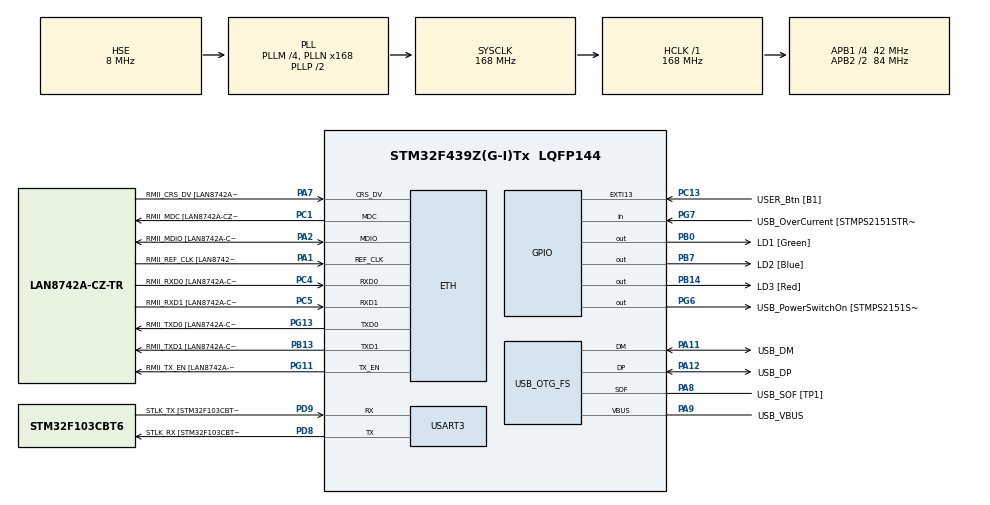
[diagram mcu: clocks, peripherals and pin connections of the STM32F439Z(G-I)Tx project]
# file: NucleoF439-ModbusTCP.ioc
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ETH.MediaInterface=HAL_ETH_RMII_MODE
ETH.PHY_Name=LAN8742A_PHY_ADDRESS
ETH.PHY_Value=0
ETH.PhyAddress=0
FREERTOS.Tasks01=defaultTask,24,512,StartDefaultTask,Default,NULL,Dynamic,NULL,NULL;ledTask,8,128,StartLedTask,Default,NULL,Dynamic,NULL,NULL;registerTask,8,128,StartRegisterTask,Default,NULL,Dynamic,NULL,NULL
FREERTOS.configGENERATE_RUN_TIME_STATS=1
FREERTOS.configRECORD_STACK_HIGH_ADDRESS=1
FREERTOS.configUSE_NEWLIB_REENTRANT=1
Mcu.Family=STM32F4
Mcu.Name=STM32F439Z(G-I)Tx
Mcu.Package=LQFP144
NVIC.ETH_IRQn=true\:5\:0\:false\:false\:false\:true\:true\:false\:true
NVIC.PriorityGroup=NVIC_PRIORITYGROUP_4
NVIC.TIM6_DAC_IRQn=true\:15\:0\:false\:false\:true\:false\:false\:true\:true
NVIC.TimeBase=TIM6_DAC_IRQn
NVIC.TimeBaseIP=TIM6
PA1.GPIO_Label=RMII_REF_CLK [LAN8742A-CZ-TR_REFCLK0]
PA1.Mode=RMII
PA1.Signal=ETH_REF_CLK
PA10.GPIO_Label=USB_ID
PA10.Signal=USB_OTG_FS_ID
PA11.GPIO_Label=USB_DM
PA11.Mode=Device_Only
PA11.Signal=USB_OTG_FS_DM
PA12.GPIO_Label=USB_DP
PA12.Mode=Device_Only
PA12.Signal=USB_OTG_FS_DP
PA13.GPIO_Label=TMS
PA13.Mode=Serial_Wire
PA13.Signal=SYS_JTMS-SWDIO
PA14.GPIO_Label=TCK
PA14.Mode=Serial_Wire
PA14.Signal=SYS_JTCK-SWCLK
PA2.GPIO_Label=RMII_MDIO [LAN8742A-CZ-TR_MDIO]
PA2.Mode=RMII
PA2.Signal=ETH_MDIO
PA7.GPIO_Label=RMII_CRS_DV [LAN8742A-CZ-TR_CRS_DV]
PA7.Mode=RMII
PA7.Signal=ETH_CRS_DV
PA8.GPIO_Label=USB_SOF [TP1]
PA8.Mode=Activate_SOF_FS
PA8.Signal=USB_OTG_FS_SOF
PA9.GPIO_Label=USB_VBUS
PA9.Mode=Activate_VBUS
PA9.Signal=USB_OTG_FS_VBUS
PB0.GPIO_Label=LD1 [Green]
PB0.Signal=GPIO_Output
PB13.GPIO_Label=RMII_TXD1 [LAN8742A-CZ-TR_TXD1]
PB13.Mode=RMII
PB13.Signal=ETH_TXD1
PB14.GPIO_Label=LD3 [Red]
PB14.Signal=GPIO_Output
PB7.GPIO_Label=LD2 [Blue]
PB7.Signal=GPIO_Output
PC1.GPIO_Label=RMII_MDC [LAN8742A-CZ-TR_MDC]
PC1.Mode=RMII
PC1.Signal=ETH_MDC
PC13.GPIO_Label=USER_Btn [B1]
PC13.Signal=GPXTI13
PC14/OSC32_IN.Mode=LSE-External-Oscillator
PC14/OSC32_IN.Signal=RCC_OSC32_IN
PC15/OSC32_OUT.Mode=LSE-External-Oscillator
PC15/OSC32_OUT.Signal=RCC_OSC32_OUT
PC4.GPIO_Label=RMII_RXD0 [LAN8742A-CZ-TR_RXD0]
PC4.Mode=RMII
PC4.Signal=ETH_RXD0
PC5.GPIO_Label=RMII_RXD1 [LAN8742A-CZ-TR_RXD1]
PC5.Mode=RMII
PC5.Signal=ETH_RXD1
PD8.GPIO_Label=STLK_RX [STM32F103CBT6_PA3]
PD8.Mode=Asynchronous
PD8.Signal=USART3_TX
PD9.GPIO_Label=STLK_TX [STM32F103CBT6_PA2]
PD9.Mode=Asynchronous
PD9.Signal=USART3_RX
PG11.GPIO_Label=RMII_TX_EN [LAN8742A-CZ-TR_TXEN]
PG11.Mode=RMII
PG11.Signal=ETH_TX_EN
PG13.GPIO_Label=RMII_TXD0 [LAN8742A-CZ-TR_TXD0]
PG13.Mode=RMII
PG13.Signal=ETH_TXD0
PG6.GPIO_Label=USB_PowerSwitchOn [STMPS2151STR_EN]
PG6.Signal=GPIO_Output
PG7.GPIO_Label=USB_OverCurrent [STMPS2151STR_FAULT]
PG7.Signal=GPIO_Input
PH0/OSC_IN.GPIO_Label=MCO [STM32F103CBT6_PA8]
PH0/OSC_IN.Mode=HSE-External-Clock-Source
PH0/OSC_IN.Signal=RCC_OSC_IN
PH1/OSC_OUT.Mode=HSE-External-Clock-Source
PH1/OSC_OUT.Signal=RCC_OSC_OUT
ProjectManager.HeapSize=0x200
ProjectManager.StackSize=0x400
ProjectManager.TargetToolchain=STM32CubeIDE
RCC.48MHZClocksFreq_Value=48000000
RCC.AHBFreq_Value=168000000
RCC.APB1CLKDivider=RCC_HCLK_DIV4
RCC.APB1Freq_Value=42000000
RCC.APB1TimFreq_Value=84000000
RCC.APB2CLKDivider=RCC_HCLK_DIV2
RCC.APB2Freq_Value=84000000
RCC.APB2TimCLKDivider=2
RCC.APB2TimFreq_Value=168000000
RCC.CortexFreq_Value=168000000
RCC.HCLKFreq_Value=168000000
RCC.HSE_VALUE=8000000
RCC.HSI_VALUE=16000000
RCC.PLLM=4
RCC.PLLMUL=RCC_PLL_MUL9
RCC.PLLN=168
RCC.PLLQ=7
RCC.PRESCALERUSB=RCC_USBCLKSOURCE_PLL_DIV1_5
RCC.SYSCLKFreq_VALUE=168000000
RCC.SYSCLKSource=RCC_SYSCLKSOURCE_PLLCLK
RCC.SYSCLKSourceVirtual=RCC_SYSCLKSOURCE_PLLCLK
RCC.USBFreq_Value=48000000
RCC.VCOOutputFreq_Value=336000000
USART3.VirtualMode=VM_ASYNC
USB_OTG_FS.VirtualMode=Device_Only
VP_FREERTOS_VS_CMSIS_V2.Mode=CMSIS_V2
VP_SYS_VS_tim6.Mode=TIM6
board=NUCLEO-F439ZI

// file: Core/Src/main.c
/* USER CODE BEGIN Header */
/**
  ******************************************************************************
  * @file           : main.c
  * @brief          : Main program body
  ******************************************************************************
  * @attention
  *
  * Copyright (c) 2024 STMicroelectronics.
  * All rights reserved.
  *
  * This software is licensed under terms that can be found in the LICENSE file
  * in the root directory of this software component.
  * If no LICENSE file comes with this software, it is provided AS-IS.
  *
  ******************************************************************************
  */
/* USER CODE END Header */
#include "main.h"
#include "string.h"
#include "cmsis_os.h"

/* USER CODE BEGIN Includes */
#include "mongoose.h"
/* USER CODE END Includes */

/* USER CODE BEGIN PM */
#define UNIT_ID 0x01
#define COIL_OUT_BLOCK_SIZE 128
#define COIL_IN_BLOCK_SIZE 128
#define REG_IN_BLOCK_SIZE 100
#define REG_OUT_BLOCK_SIZE 100
/* USER CODE END PM */

ETH_TxPacketConfig TxConfig;
ETH_DMADescTypeDef  DMARxDscrTab[ETH_RX_DESC_CNT]; /* Ethernet Rx DMA Descriptors */
ETH_DMADescTypeDef  DMATxDscrTab[ETH_TX_DESC_CNT]; /* Ethernet Tx DMA Descriptors */

ETH_HandleTypeDef heth;

UART_HandleTypeDef huart3;

PCD_HandleTypeDef hpcd_USB_OTG_FS;

/* Definitions for defaultTask */
osThreadId_t defaultTaskHandle;
const osThreadAttr_t defaultTask_attributes = {
  .name = "defaultTask",
  .stack_size = 512 * 4,
  .priority = (osPriority_t) osPriorityNormal,
};
/* Definitions for ledTask */
osThreadId_t ledTaskHandle;
const osThreadAttr_t ledTask_attributes = {
  .name = "ledTask",
  .stack_size = 128 * 4,
  .priority = (osPriority_t) osPriorityLow,
};
/* Definitions for registerTask */
osThreadId_t registerTaskHandle;
const osThreadAttr_t registerTask_attributes = {
  .name = "registerTask",
  .stack_size = 128 * 4,
  .priority = (osPriority_t) osPriorityLow,
};
/* USER CODE BEGIN PV */
uint8_t counter = 1;
struct mg_connection* conn = NULL;
bool connected = false;
uint8_t modbus_coil_out_mem[COIL_OUT_BLOCK_SIZE];
const uint8_t modbus_coil_in_mem[COIL_IN_BLOCK_SIZE] =
{
  0x49,
  0xF1,
  0xAA,
  0x96,
  0xB0,
  0x72,
  0xC9,
  0x15,
  0x47,
  0x01
};
const uint16_t modbus_reg_in_mem[REG_IN_BLOCK_SIZE] =
{
  0xFFDC,
  0x3F1D,
  0xC840,
  0x59E6,
  0x8B0F,
  0xF723,
  0x2CA9,
  0xD15E,
  0x6478,
  0x90F1
};
uint16_t modbus_reg_out_mem[REG_OUT_BLOCK_SIZE] =
{
  0xA3F2,
  0x5B7C,
  0xC1D4,
  0x8E09,
  0xF4A6,
  0x23E1,
  0x9B7F,
  0x4D92,
  0x6AC8,
  0xEF3B
};

typedef enum
{
  ILLEGAL_FUNCTION = 0x01,
  ILLEGAL_DATA_ADDRESS = 0x02,
  ILLEGAL_DATA_VALUE = 0x03,
  SLAVE_DEVICE_FAILURE = 0x04,
  SLAVE_DEVICE_BUSY  = 0x06
} ModbusExceptionCode;
/* USER CODE END PV */

void SystemClock_Config(void);
static void MX_GPIO_Init(void);
static void MX_ETH_Init(void);
static void MX_USART3_UART_Init(void);
static void MX_USB_OTG_FS_PCD_Init(void);
void StartDefaultTask(void *argument);
void StartLedTask(void *argument);
void StartRegisterTask(void *argument);

/* USER CODE BEGIN 0 */
void modbus_exception(ModbusExceptionCode error_code)
{
  MG_ERROR(("MODBUS EXCEPTION : %d", error_code));
}

int _write(int file, char *ptr, int len)
{
  (void)file;
  HAL_UART_Transmit(&huart3, (uint8_t*)ptr, len, 1000);
  return len;
}

/*uint64_t mg_millis(void)
{
  return HAL_GetTick();
}*/

bool glue_modbus_read_coil(uint8_t func, uint16_t start, uint8_t bit_position, bool *coil_state)
{
  if(func == 1)//coil
  {
      if(start > COIL_OUT_BLOCK_SIZE)
      {
          //MG_ERROR(("INVALID COIL ADDRESS"));
          modbus_exception(ILLEGAL_DATA_ADDRESS);
          return 0;
      }
      *coil_state = (bool)((modbus_coil_in_mem[start] >> bit_position) & 0x01);
      return 1;
  }
  else if(func == 2)//discrete input
  {
      if(start > COIL_IN_BLOCK_SIZE)
      {

          modbus_exception(ILLEGAL_DATA_ADDRESS);
          return 0;
      }
     *coil_state = (bool)((modbus_coil_in_mem[start] >> bit_position) & 0x01);
      return 1;
  }
  else return 0;
}

bool glue_modbus_write_coil(uint16_t start, uint8_t bit_position, bool coil_state)
{
  if(start > COIL_OUT_BLOCK_SIZE)
  {
    MG_ERROR(("INVALID COIL ADDRESS"));
    return 0;
  }
  if(coil_state == 1)
  {
       modbus_coil_out_mem[start] |= (1 << bit_position);
  }
  else
  {
       modbus_coil_out_mem[start] &= ~(1 << bit_position);
  }
  return 1;
}

bool glue_modbus_write_reg(uint16_t start, uint16_t value)
{
    if(start > REG_OUT_BLOCK_SIZE)
    {
      MG_ERROR(("INVALID REG ADDRESS"));
      //modbus_exception(ILLEGAL_DATA_ADDRESS);
      return 0;
    }
    modbus_reg_out_mem[start] = value;
    return 1;

}

bool glue_modbus_read_reg(uint8_t func, uint16_t start, uint16_t* value)
{

  switch(func)
  {
    case 3://read holding register
      if(start > REG_IN_BLOCK_SIZE )
      {
      modbus_exception(ILLEGAL_DATA_ADDRESS);
      return 0;
      }
      * value = modbus_reg_out_mem[start];
      return 1;
    case 4://read input register
      if(start > REG_OUT_BLOCK_SIZE )
      {
        modbus_exception(ILLEGAL_DATA_ADDRESS);
        return 0;
      }
     * value = modbus_reg_in_mem[start];
      return 1;
    default:
     modbus_exception(ILLEGAL_FUNCTION);
     return 0;

  }
}

static void handle_modbus_pdu(struct mg_connection *c, uint8_t *buf,
                              size_t len) {
  MG_DEBUG(("Received PDU %p len %lu, hexdump:", buf, len));
  mg_hexdump(buf, len);
  // size_t hdr_size = 8, max_data_size = sizeof(response) - hdr_size;
  if (len < 12) {
    MG_ERROR(("PDU too small"));
  } else {
    uint8_t func = buf[7];  // Function
    bool success = false;
    size_t response_len = 0;
    uint8_t response[260] = {0};
    memcpy(response, buf, 8);
    uint16_t tid = mg_ntohs(*(uint16_t *) &buf[0]);  // Transaction ID
    uint16_t pid = mg_ntohs(*(uint16_t *) &buf[2]);  // Protocol ID
    uint16_t len = mg_ntohs(*(uint16_t *) &buf[4]);  // PDU length
    uint8_t uid = buf[6];                            // Unit identifier
    if (func == 6) {  // write single holding register
      uint16_t start = mg_ntohs(*(uint16_t *) &buf[8]);
      uint16_t value = mg_ntohs(*(uint16_t *) &buf[10]);
      success = glue_modbus_write_reg(start, value);
      if(success == false)
      {
        modbus_exception(ILLEGAL_DATA_ADDRESS);
        response[8] = ILLEGAL_DATA_ADDRESS;
        goto error_check;

      }
      *(uint16_t *) &response[8] = mg_htons(start);
      *(uint16_t *) &response[10] = mg_htons(value);
      response_len = 12;
      MG_DEBUG(("Glue returned %s", success ? "success" : "failure"));
    } else if (func == 16) {  // Write multiple
      uint16_t start = mg_ntohs(*(uint16_t *) &buf[8]);
      uint16_t num = mg_ntohs(*(uint16_t *) &buf[10]);
      if(num > 123)
      {
        modbus_exception(ILLEGAL_DATA_VALUE);
        success = false;
        goto error_check;
      }
      uint16_t i, *data = (uint16_t *) &buf[13];
      if ((size_t) (num * 2 + 10) < sizeof(response)) {
        for (i = 0; i < num; i++) {
          success =
              glue_modbus_write_reg((uint16_t) (start + i), mg_htons(data[i]));
          if (success == false)
          {
             modbus_exception(ILLEGAL_DATA_ADDRESS);
             response[8] = ILLEGAL_DATA_ADDRESS;
             goto error_check;
          }
        }
        *(uint16_t *) &response[8] = mg_htons(start);
        *(uint16_t *) &response[10] = mg_htons(num);
        response_len = 12;
        MG_DEBUG(("Glue returned %s", success ? "success" : "failure"));
      }
    } else if (func == 3 || func == 4) {  // Read multiple
      uint16_t start = mg_ntohs(*(uint16_t *) &buf[8]);
      uint16_t num = mg_ntohs(*(uint16_t *) &buf[10]);
      if ((size_t) (num * 2 + 9) < sizeof(response)) {
        uint16_t i, val, *data = (uint16_t *) &response[9];
        for (i = 0; i < num; i++) {
          success = glue_modbus_read_reg(func,(uint16_t) (start + i), &val);
          if (success == false) break;
          data[i] = mg_htons(val);
        }
        response[8] = (uint8_t) (num * 2);
        response_len = 9 + response[8];
        MG_DEBUG(("Glue returned %s", success ? "success" : "failure"));
      }
    }
    else if(func == 5)//write single coil
    {
      response_len = 12;
      success = true;
      response[8] = buf[8];//copy the address bytes in the response buffer
      response[9] = buf[9];
      response[10] = buf[10];
      response[11] = buf[11];
     uint16_t start_byte = (uint16_t)(buf[8] << 8 |  buf[9]);
      if(start_byte > COIL_OUT_BLOCK_SIZE)
      {
        modbus_exception(ILLEGAL_DATA_ADDRESS);
        response[8] = ILLEGAL_DATA_ADDRESS;
        success = false;
        goto error_check;
      }

      uint16_t byte_loc = start_byte / 8;
      uint8_t bit_pos = start_byte % 8;
      if(buf[10] == 0xFF && buf[11] == 0x00)
      {
          success &= glue_modbus_write_coil(byte_loc, bit_pos, true);
      }
      else if(buf[10] == 0x00 && buf[11] == 0x00)
      {
          success &= glue_modbus_write_coil(byte_loc, bit_pos, false);
      }
      else
      {
         MG_INFO(("Invalid coil value, command ignored"));

      }
    }
    else if(func == 15)//write multiple coils
    {
      success = true;
      uint16_t start_byte = (uint16_t)(buf[8] << 8 | buf[9]);

      uint16_t byte_loc = start_byte / 8;
      uint8_t bit_pos = start_byte % 8;
      uint16_t coils_count = (uint16_t)((buf[10] << 8) | buf[11]);
      uint16_t buffer_start_index = 13;//coils value starts at index 13
      uint8_t shift_index = 0;//for comparing with the buffer;
      response[8] = buf[8];//copy the address bytes in the response buffer
      response[9] = buf[9];
      response[10] = buf[10];
      response[11] = buf[11];
      response_len = 12;
      if((start_byte  + coils_count / 8)> COIL_OUT_BLOCK_SIZE)
      {
        modbus_exception(ILLEGAL_DATA_ADDRESS);
        success = false;
         response[8] = ILLEGAL_DATA_ADDRESS;
        goto error_check;
      }
      if(coils_count > 1968)
      {
        success = false;
        modbus_exception(ILLEGAL_DATA_VALUE);
        response[8] = ILLEGAL_DATA_ADDRESS;
        goto error_check;
      }
      for(uint16_t i = 0; i < coils_count; i++)
      {
        if(((buf[buffer_start_index] >> shift_index) & 0x01) == 1)
        {
            success &= glue_modbus_write_coil(byte_loc, bit_pos, true);
        }
        else
        {
            success &= glue_modbus_write_coil(byte_loc, bit_pos, false);
        }
        bit_pos ++;
        shift_index++;
        if(bit_pos == 8)
        {
          bit_pos = 0;
          byte_loc++;
        }
        if(shift_index == 8)
        {
          shift_index = 0;
          buffer_start_index++;
        }
      }

    }
    else if(func == 1 || func == 2)//read coil or input
    {
        success = true;
        uint16_t coil_addr  = (uint16_t)((buf[8] << 8) | buf[9]);//
        uint8_t bit_pos = coil_addr % 8;
        uint16_t byte_num = coil_addr / 8;
        bool coil_bit_value = false;
        uint16_t coils_count = (uint16_t)((buf[10] << 8) | buf[11]);//
        if(coils_count > 2000)
        {
          modbus_exception(ILLEGAL_DATA_VALUE);
          success = false;
          response[8] = ILLEGAL_DATA_VALUE;
          goto error_check;
        }

        // uint16_t buffer_start_index = 13;
        uint8_t response_bit_index = 0 ;
        uint16_t resp_index = 9;
        response[8] = (coils_count / 8) + (bool)((coils_count % 8) > 0);
        if(response[8] > COIL_IN_BLOCK_SIZE)
        {
          modbus_exception(ILLEGAL_DATA_VALUE);
          success = false;
          response[8] = ILLEGAL_DATA_VALUE;
          goto error_check;
        }
        for(uint16_t i = 0; i < coils_count; i++)
        {
          if(glue_modbus_read_coil(func,byte_num, bit_pos, &coil_bit_value) == true)
          {
            if(coil_bit_value == true)
            {
              response[resp_index] |= (1 << response_bit_index);
            }
          }
          else
          {
            success = false;
            modbus_exception(ILLEGAL_DATA_VALUE);
            response[8] = ILLEGAL_DATA_VALUE;
            goto error_check;
          }
          bit_pos ++;
          response_bit_index++;
          if(bit_pos == 8)
          {
            bit_pos = 0;
            byte_num++;
          }
          if(response_bit_index == 8)
          {
            response_bit_index = 0;
            resp_index++;
          }
        }
         response_len = 9 +resp_index;
    }
error_check :
    if (success == false) {
      response_len = 9;
      response[7] |= 0x80;
      //response[8] = 4;  // Server Device Failure
    }
    *(uint16_t *) &response[4] = mg_htons((uint16_t) (response_len - 6));
    MG_DEBUG(("Sending PDU response %lu:", response_len));
    mg_hexdump(response, response_len);
    mg_send(c, response, response_len);
  }
}

void modbus_ev_handler(struct mg_connection *c, int ev, void *ev_data) {

  if (ev == MG_EV_READ) {
    uint16_t len;

    if (c->recv.len < 7) return;  // Less than minimum length, buffer more
    len = mg_ntohs(*(uint16_t *) &c->recv.buf[4]);  // PDU length
    MG_INFO(("Got %lu, expecting %lu", c->recv.len, len + 6));
    if (c->recv.len < len + 6U) return;          // Partial frame, buffer more
    if(c->recv.buf[6] != UNIT_ID)
    {
      MG_INFO(("UNIT ID NOT MATCHING"));
      return;
    }
    handle_modbus_pdu(c, c->recv.buf, len + 6);  // Parse PDU and call user
    mg_iobuf_del(&c->recv, 0, len + 6U);         // Delete received PDU
  }
  (void) ev_data;
}
/* USER CODE END 0 */

int main(void)
{

  /* MCU Configuration--------------------------------------------------------*/

  /* Reset of all peripherals, Initializes the Flash interface and the Systick. */
  HAL_Init();

  /* Configure the system clock */
  SystemClock_Config();

  /* Initialize all configured peripherals */
  MX_GPIO_Init();
  MX_ETH_Init();
  MX_USART3_UART_Init();
  MX_USB_OTG_FS_PCD_Init();

  /* Init scheduler */
  osKernelInitialize();

  /* Create the thread(s) */
  /* creation of defaultTask */
  defaultTaskHandle = osThreadNew(StartDefaultTask, NULL, &defaultTask_attributes);

  /* creation of ledTask */
  ledTaskHandle = osThreadNew(StartLedTask, NULL, &ledTask_attributes);

  /* creation of registerTask */
  registerTaskHandle = osThreadNew(StartRegisterTask, NULL, &registerTask_attributes);

  /* Start scheduler */
  osKernelStart();

  /* We should never get here as control is now taken by the scheduler */

  /* Infinite loop */
  while (1)
  {

  }
}

void SystemClock_Config(void)
{
  RCC_OscInitTypeDef RCC_OscInitStruct = {0};
  RCC_ClkInitTypeDef RCC_ClkInitStruct = {0};

  /** Configure the main internal regulator output voltage
  */
  __HAL_RCC_PWR_CLK_ENABLE();
  __HAL_PWR_VOLTAGESCALING_CONFIG(PWR_REGULATOR_VOLTAGE_SCALE1);

  /** Initializes the RCC Oscillators according to the specified parameters
  * in the RCC_OscInitTypeDef structure.
  */
  RCC_OscInitStruct.OscillatorType = RCC_OSCILLATORTYPE_HSE;
  RCC_OscInitStruct.HSEState = RCC_HSE_BYPASS;
  RCC_OscInitStruct.PLL.PLLState = RCC_PLL_ON;
  RCC_OscInitStruct.PLL.PLLSource = RCC_PLLSOURCE_HSE;
  RCC_OscInitStruct.PLL.PLLM = 4;
  RCC_OscInitStruct.PLL.PLLN = 168;
  RCC_OscInitStruct.PLL.PLLP = RCC_PLLP_DIV2;
  RCC_OscInitStruct.PLL.PLLQ = 7;
  if (HAL_RCC_OscConfig(&RCC_OscInitStruct) != HAL_OK)
  {
    Error_Handler();
  }

  /** Initializes the CPU, AHB and APB buses clocks
  */
  RCC_ClkInitStruct.ClockType = RCC_CLOCKTYPE_HCLK|RCC_CLOCKTYPE_SYSCLK
                              |RCC_CLOCKTYPE_PCLK1|RCC_CLOCKTYPE_PCLK2;
  RCC_ClkInitStruct.SYSCLKSource = RCC_SYSCLKSOURCE_PLLCLK;
  RCC_ClkInitStruct.AHBCLKDivider = RCC_SYSCLK_DIV1;
  RCC_ClkInitStruct.APB1CLKDivider = RCC_HCLK_DIV4;
  RCC_ClkInitStruct.APB2CLKDivider = RCC_HCLK_DIV2;

  if (HAL_RCC_ClockConfig(&RCC_ClkInitStruct, FLASH_LATENCY_5) != HAL_OK)
  {
    Error_Handler();
  }
}

static void MX_ETH_Init(void)
{

   static uint8_t MACAddr[6];

  heth.Instance = ETH;
  MACAddr[0] = 0x00;
  MACAddr[1] = 0x80;
  MACAddr[2] = 0xE1;
  MACAddr[3] = 0x00;
  MACAddr[4] = 0x00;
  MACAddr[5] = 0x00;
  heth.Init.MACAddr = &MACAddr[0];
  heth.Init.MediaInterface = HAL_ETH_RMII_MODE;
  heth.Init.TxDesc = DMATxDscrTab;
  heth.Init.RxDesc = DMARxDscrTab;
  heth.Init.RxBuffLen = 1524;

  if (HAL_ETH_Init(&heth) != HAL_OK)
  {
    Error_Handler();
  }

  memset(&TxConfig, 0 , sizeof(ETH_TxPacketConfig));
  TxConfig.Attributes = ETH_TX_PACKETS_FEATURES_CSUM | ETH_TX_PACKETS_FEATURES_CRCPAD;
  TxConfig.ChecksumCtrl = ETH_CHECKSUM_IPHDR_PAYLOAD_INSERT_PHDR_CALC;
  TxConfig.CRCPadCtrl = ETH_CRC_PAD_INSERT;

}

static void MX_USART3_UART_Init(void)
{

  huart3.Instance = USART3;
  huart3.Init.BaudRate = 115200;
  huart3.Init.WordLength = UART_WORDLENGTH_8B;
  huart3.Init.StopBits = UART_STOPBITS_1;
  huart3.Init.Parity = UART_PARITY_NONE;
  huart3.Init.Mode = UART_MODE_TX_RX;
  huart3.Init.HwFlowCtl = UART_HWCONTROL_NONE;
  huart3.Init.OverSampling = UART_OVERSAMPLING_16;
  if (HAL_UART_Init(&huart3) != HAL_OK)
  {
    Error_Handler();
  }

}

static void MX_USB_OTG_FS_PCD_Init(void)
{

  hpcd_USB_OTG_FS.Instance = USB_OTG_FS;
  hpcd_USB_OTG_FS.Init.dev_endpoints = 4;
  hpcd_USB_OTG_FS.Init.speed = PCD_SPEED_FULL;
  hpcd_USB_OTG_FS.Init.dma_enable = DISABLE;
  hpcd_USB_OTG_FS.Init.phy_itface = PCD_PHY_EMBEDDED;
  hpcd_USB_OTG_FS.Init.Sof_enable = ENABLE;
  hpcd_USB_OTG_FS.Init.low_power_enable = DISABLE;
  hpcd_USB_OTG_FS.Init.lpm_enable = DISABLE;
  hpcd_USB_OTG_FS.Init.vbus_sensing_enable = ENABLE;
  hpcd_USB_OTG_FS.Init.use_dedicated_ep1 = DISABLE;
  if (HAL_PCD_Init(&hpcd_USB_OTG_FS) != HAL_OK)
  {
    Error_Handler();
  }

}

static void MX_GPIO_Init(void)
{
  GPIO_InitTypeDef GPIO_InitStruct = {0};

  /* GPIO Ports Clock Enable */
  __HAL_RCC_GPIOC_CLK_ENABLE();
  __HAL_RCC_GPIOH_CLK_ENABLE();
  __HAL_RCC_GPIOA_CLK_ENABLE();
  __HAL_RCC_GPIOB_CLK_ENABLE();
  __HAL_RCC_GPIOD_CLK_ENABLE();
  __HAL_RCC_GPIOG_CLK_ENABLE();

  /*Configure GPIO pin Output Level */
  HAL_GPIO_WritePin(GPIOB, LD1_Pin|LD3_Pin|LD2_Pin, GPIO_PIN_RESET);

  /*Configure GPIO pin Output Level */
  HAL_GPIO_WritePin(USB_PowerSwitchOn_GPIO_Port, USB_PowerSwitchOn_Pin, GPIO_PIN_RESET);

  /*Configure GPIO pin : USER_Btn_Pin */
  GPIO_InitStruct.Pin = USER_Btn_Pin;
  GPIO_InitStruct.Mode = GPIO_MODE_IT_RISING;
  GPIO_InitStruct.Pull = GPIO_NOPULL;
  HAL_GPIO_Init(USER_Btn_GPIO_Port, &GPIO_InitStruct);

  /*Configure GPIO pins : LD1_Pin LD3_Pin LD2_Pin */
  GPIO_InitStruct.Pin = LD1_Pin|LD3_Pin|LD2_Pin;
  GPIO_InitStruct.Mode = GPIO_MODE_OUTPUT_PP;
  GPIO_InitStruct.Pull = GPIO_NOPULL;
  GPIO_InitStruct.Speed = GPIO_SPEED_FREQ_LOW;
  HAL_GPIO_Init(GPIOB, &GPIO_InitStruct);

  /*Configure GPIO pin : USB_PowerSwitchOn_Pin */
  GPIO_InitStruct.Pin = USB_PowerSwitchOn_Pin;
  GPIO_InitStruct.Mode = GPIO_MODE_OUTPUT_PP;
  GPIO_InitStruct.Pull = GPIO_NOPULL;
  GPIO_InitStruct.Speed = GPIO_SPEED_FREQ_LOW;
  HAL_GPIO_Init(USB_PowerSwitchOn_GPIO_Port, &GPIO_InitStruct);

  /*Configure GPIO pin : USB_OverCurrent_Pin */
  GPIO_InitStruct.Pin = USB_OverCurrent_Pin;
  GPIO_InitStruct.Mode = GPIO_MODE_INPUT;
  GPIO_InitStruct.Pull = GPIO_NOPULL;
  HAL_GPIO_Init(USB_OverCurrent_GPIO_Port, &GPIO_InitStruct);

}

/* USER CODE BEGIN 4 */
void log_fn(char ch, void *param)
{
	HAL_UART_Transmit(&huart3, (uint8_t*)&ch, 1, 1);
}

/* USER CODE END 4 */

void StartDefaultTask(void *argument)
{
  /* USER CODE BEGIN 5 */

	osDelay(100);

	struct mg_mgr mgr;

	mg_log_set(MG_LL_DEBUG);

	mg_log_set_fn(log_fn, NULL);

	mg_mgr_init(&mgr);

	  // Initialise Mongoose network stack
	struct mg_tcpip_driver_stm32f_data driver_data = {
		.mdc_cr = 4,
		.phy_addr = 0
	};

	// set mac address using UID of micro
	// first 3 bytes are ST Micro's Vendor ID
	uint8_t mac[] = {0x00, 0x80, 0xE1, 0x00, 0x00, 0x00};

	uint32_t uid = HAL_GetUIDw0();

	mac[3] = (uid >> 16) & 0xFF;
	mac[4] = (uid >> 8) & 0xFF;
	mac[5] = uid & 0xFF;

	struct mg_tcpip_if mif = {
		.ip = mg_htonl(MG_U32(172, 31, 7, 125)),
		.mask = mg_htonl(MG_U32(255, 255, 255, 0)),
		.gw = mg_htonl(MG_U32(172, 31, 7, 1)),
		.driver = &mg_tcpip_driver_stm32f,
		.driver_data = &driver_data
	};

	memcpy(&mif.mac, mac, 6);

	mg_tcpip_init(&mgr, &mif);
	mg_listen(&mgr, "tcp://0.0.0.0:502", modbus_ev_handler, NULL);
  /* Infinite loop */
  for(;;)
  {
	  mg_mgr_poll(&mgr, 1000);
	  osDelay(1);
  }
  /* USER CODE END 5 */
}

void StartLedTask(void *argument)
{
  /* USER CODE BEGIN StartLedTask */
  /* Infinite loop */
  for(;;)
  {
	  HAL_GPIO_TogglePin(GPIOB, LD1_Pin);
	  osDelay(250);
  }
  /* USER CODE END StartLedTask */
}

void StartRegisterTask(void *argument)
{
  /* USER CODE BEGIN StartRegisterTask */
  /* Infinite loop */
  for(;;)
  {
	for (int i=0; i < 10; i++)
		modbus_reg_out_mem[i] += (1 + i);
    osDelay(2000);
  }
  /* USER CODE END StartRegisterTask */
}

void HAL_TIM_PeriodElapsedCallback(TIM_HandleTypeDef *htim)
{
  if (htim->Instance == TIM6) {
    HAL_IncTick();
  }
}

void Error_Handler(void)
{
  __disable_irq();
  while (1)
  {
  }
}
